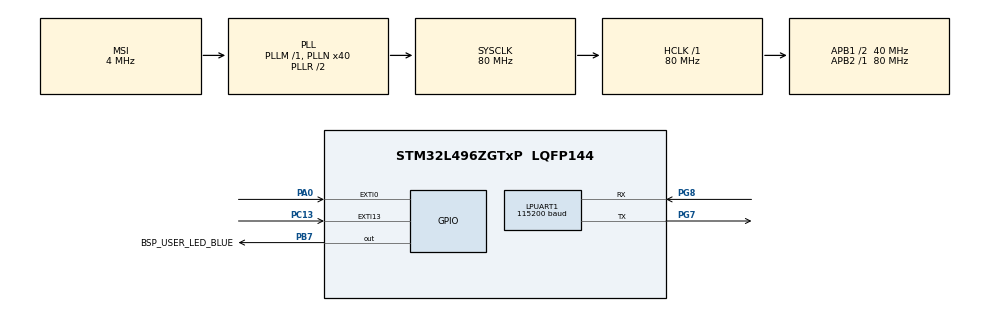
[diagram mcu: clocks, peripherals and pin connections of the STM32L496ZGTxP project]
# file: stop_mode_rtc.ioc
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LPUART1.BaudRate=115200
LPUART1.WordLength=UART_WORDLENGTH_8B
Mcu.Family=STM32L4
Mcu.Name=STM32L496ZGTxP
Mcu.Package=LQFP144
NVIC.EXTI0_IRQn=true\:0\:0\:false\:false\:true\:true\:true\:true
NVIC.EXTI15_10_IRQn=true\:0\:0\:false\:false\:true\:true\:true\:true
NVIC.PriorityGroup=NVIC_PRIORITYGROUP_4
NVIC.RTC_Alarm_IRQn=true\:0\:0\:false\:false\:true\:true\:true\:true
NVIC.RTC_WKUP_IRQn=true\:0\:0\:false\:false\:true\:true\:true\:true
NVIC.TIM2_IRQn=true\:0\:0\:false\:false\:true\:true\:true\:true
PA0.GPIO_PuPd=GPIO_PULLDOWN
PA0.Signal=GPXTI0
PA13\ (JTMS/SWDIO).Mode=Serial_Wire
PA13\ (JTMS/SWDIO).Signal=SYS_JTMS-SWDIO
PA14\ (JTCK/SWCLK).Mode=Serial_Wire
PA14\ (JTCK/SWCLK).Signal=SYS_JTCK-SWCLK
PB7.GPIO_Label=BSP_USER_LED_BLUE
PB7.Signal=GPIO_Output
PC13.Signal=GPXTI13
PG7.Mode=Asynchronous
PG7.Signal=LPUART1_TX
PG8.Mode=Asynchronous
PG8.Signal=LPUART1_RX
ProjectManager.HeapSize=0x200
ProjectManager.StackSize=0x400
ProjectManager.TargetToolchain=STM32CubeIDE
RCC.48MHZClocksFreq_Value=24000000
RCC.ADCFreq_Value=40000000
RCC.AHBFreq_Value=80000000
RCC.APB1CLKDivider=RCC_HCLK_DIV2
RCC.APB1Freq_Value=40000000
RCC.APB1TimFreq_Value=80000000
RCC.APB2Freq_Value=80000000
RCC.APB2TimFreq_Value=80000000
RCC.CortexFreq_Value=80000000
RCC.HCLKFreq_Value=80000000
RCC.HSE_VALUE=8000000
RCC.HSI48_VALUE=48000000
RCC.HSI_VALUE=16000000
RCC.LSE_VALUE=32768
RCC.MSI_VALUE=4000000
RCC.PLLMUL=RCC_PLL_MUL9
RCC.PLLN=40
RCC.PLLSAI1N=20
RCC.PRESCALERUSB=RCC_USBCLKSOURCE_PLL_DIV1_5
RCC.SYSCLKFreq_VALUE=80000000
RCC.SYSCLKSource=RCC_SYSCLKSOURCE_PLLCLK
RCC.SYSCLKSourceVirtual=RCC_SYSCLKSOURCE_PLLCLK
RCC.USBFreq_Value=40000000
RCC.VCOOutputFreq_Value=160000000
RTC.Alarm-Alarm\ A=RTC_ALARM_A
VP_RTC_VS_RTC_Activate.Mode=RTC_Enabled
VP_RTC_VS_RTC_Alarm_A_Intern.Mode=Alarm A
VP_RTC_VS_RTC_Calendar.Mode=RTC_Calendar
VP_RTC_VS_RTC_WakeUp_intern.Mode=WakeUp
VP_TIM1_VS_ClockSourceITR.Mode=TriggerSource_ITR0
VP_TIM1_VS_ControllerModeClock.Mode=Clock Mode
VP_TIM2_VS_ClockSourceITR.Mode=TriggerSource_ITR1
VP_TIM2_VS_ControllerModeClock.Mode=Clock Mode
board=NUCLEO-L496ZG-P

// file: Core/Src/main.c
/* USER CODE BEGIN Header */
/**
 ******************************************************************************
 * @file           : main.c
 * @brief          : Main program body
 ******************************************************************************
 * @attention
 *
 * Copyright (c) 2023 STMicroelectronics.
 * All rights reserved.
 *
 * This software is licensed under terms that can be found in the LICENSE file
 * in the root directory of this software component.
 * If no LICENSE file comes with this software, it is provided AS-IS.
 *
 ******************************************************************************
 */
/* USER CODE END Header */
#include "main.h"

/* USER CODE BEGIN Includes */
#include "stdbool.h"
#include "stdio.h"
/* USER CODE END Includes */

UART_HandleTypeDef hlpuart1;

RTC_HandleTypeDef hrtc;

TIM_HandleTypeDef htim1;
TIM_HandleTypeDef htim2;

/* USER CODE BEGIN PV */
//volatile uint32_t milliseconds = 0;
//volatile uint32_t timerInterval = 1000; // Initial timer interval in milliseconds
//volatile uint32_t maxInterval = 10000;  // Maximum timer interval in milliseconds
//volatile uint32_t lastKeyPressMillis = 0;
//volatile uint8_t resetTimer = 0;

volatile uint32_t milliseconds = 0;
volatile uint32_t standbyTimeout = 10000; // Standby timeout in milliseconds
volatile uint32_t lastKeyPressMillis = 0;
volatile uint8_t standbyModeFlag = 0;

uint32_t elapsedTime = 0;

static volatile bool keyPressed = false;//???
/* USER CODE END PV */

void SystemClock_Config(void);
static void MX_GPIO_Init(void);
static void MX_LPUART1_UART_Init(void);
static void MX_RTC_Init(void);
static void MX_TIM1_Init(void);
static void MX_TIM2_Init(void);
/* USER CODE BEGIN PFP */
void initializeTimer(void);
uint32_t millis(void);

/* USER CODE END PFP */

/* USER CODE BEGIN 0 */

void HAL_GPIO_EXTI_Callback(uint16_t GPIO_Pin) {
	if (GPIO_Pin == GPIO_PIN_13) {
		SystemClock_Config();
		HAL_ResumeTick(); //countios opration on intrupts

		if (standbyModeFlag == 1) {
			printf("WAKEUP FROM EXTII\r\n");

			printf("Weakup from stop mode\r\n");

			standbyTimeout = 10000;
			lastKeyPressMillis = 0;
//			standbyModeFlag = 0;
			elapsedTime = 0;
			milliseconds = 0;
			initializeTimer();
			SysTick_Config(SystemCoreClock / 1000);

		    standbyModeFlag = 0;
//		    lastKeyPressMillis = millis();
		}

		else {
			keyPressed = true;
		}
	}

}

/* USER CODE END 0 */

int main(void)
{

  /* MCU Configuration--------------------------------------------------------*/

  /* Reset of all peripherals, Initializes the Flash interface and the Systick. */
  HAL_Init();

  /* Configure the system clock */
  SystemClock_Config();

  /* Initialize all configured peripherals */
  MX_GPIO_Init();
  MX_LPUART1_UART_Init();
  MX_RTC_Init();
  MX_TIM1_Init();
  MX_TIM2_Init();
  /* USER CODE BEGIN 2 */
	printf("Enter stop mode in 10 sec\r\n");

initializeTimer();
 	SysTick_Config(SystemCoreClock / 1000);

//	HAL_Delay(200);
  /* USER CODE END 2 */

  /* Infinite loop */
	while (1) {

    /* USER CODE BEGIN 3 */

		// Check if a key has been pressed
		if (keyPressed == true) {
			// Update the lastKeyPressMillis
			lastKeyPressMillis = millis();//Updates the lastKeyPressMillis millis()
			standbyModeFlag = 0; // Reset the standby mode flag
			keyPressed = false;
		}

		// Calculate the elapsed time since the last key press
		elapsedTime = millis() - lastKeyPressMillis;

		// Check if the elapsed time exceeds the standby timeout and if not in standby mode already
		if (elapsedTime >= standbyTimeout && !standbyModeFlag) {

			enterStopMode();// enter the stop mode

		}

	}
  /* USER CODE END 3 */
}

void SystemClock_Config(void)
{
  RCC_OscInitTypeDef RCC_OscInitStruct = {0};
  RCC_ClkInitTypeDef RCC_ClkInitStruct = {0};

  /** Configure the main internal regulator output voltage
  */
  if (HAL_PWREx_ControlVoltageScaling(PWR_REGULATOR_VOLTAGE_SCALE1) != HAL_OK)
  {
    Error_Handler();
  }

  /** Initializes the RCC Oscillators according to the specified parameters
  * in the RCC_OscInitTypeDef structure.
  */
  RCC_OscInitStruct.OscillatorType = RCC_OSCILLATORTYPE_LSI|RCC_OSCILLATORTYPE_MSI;
  RCC_OscInitStruct.LSIState = RCC_LSI_ON;
  RCC_OscInitStruct.MSIState = RCC_MSI_ON;
  RCC_OscInitStruct.MSICalibrationValue = 0;
  RCC_OscInitStruct.MSIClockRange = RCC_MSIRANGE_6;
  RCC_OscInitStruct.PLL.PLLState = RCC_PLL_ON;
  RCC_OscInitStruct.PLL.PLLSource = RCC_PLLSOURCE_MSI;
  RCC_OscInitStruct.PLL.PLLM = 1;
  RCC_OscInitStruct.PLL.PLLN = 40;
  RCC_OscInitStruct.PLL.PLLP = RCC_PLLP_DIV2;
  RCC_OscInitStruct.PLL.PLLQ = RCC_PLLQ_DIV2;
  RCC_OscInitStruct.PLL.PLLR = RCC_PLLR_DIV2;
  if (HAL_RCC_OscConfig(&RCC_OscInitStruct) != HAL_OK)
  {
    Error_Handler();
  }

  /** Initializes the CPU, AHB and APB buses clocks
  */
  RCC_ClkInitStruct.ClockType = RCC_CLOCKTYPE_HCLK|RCC_CLOCKTYPE_SYSCLK
                              |RCC_CLOCKTYPE_PCLK1|RCC_CLOCKTYPE_PCLK2;
  RCC_ClkInitStruct.SYSCLKSource = RCC_SYSCLKSOURCE_PLLCLK;
  RCC_ClkInitStruct.AHBCLKDivider = RCC_SYSCLK_DIV1;
  RCC_ClkInitStruct.APB1CLKDivider = RCC_HCLK_DIV2;
  RCC_ClkInitStruct.APB2CLKDivider = RCC_HCLK_DIV1;

  if (HAL_RCC_ClockConfig(&RCC_ClkInitStruct, FLASH_LATENCY_4) != HAL_OK)
  {
    Error_Handler();
  }
}

static void MX_LPUART1_UART_Init(void)
{

  hlpuart1.Instance = LPUART1;
  hlpuart1.Init.BaudRate = 115200;
  hlpuart1.Init.WordLength = UART_WORDLENGTH_8B;
  hlpuart1.Init.StopBits = UART_STOPBITS_1;
  hlpuart1.Init.Parity = UART_PARITY_NONE;
  hlpuart1.Init.Mode = UART_MODE_TX_RX;
  hlpuart1.Init.HwFlowCtl = UART_HWCONTROL_NONE;
  hlpuart1.Init.OneBitSampling = UART_ONE_BIT_SAMPLE_DISABLE;
  hlpuart1.AdvancedInit.AdvFeatureInit = UART_ADVFEATURE_NO_INIT;
  if (HAL_UART_Init(&hlpuart1) != HAL_OK)
  {
    Error_Handler();
  }

}

static void MX_RTC_Init(void)
{

  RTC_TimeTypeDef sTime = {0};
  RTC_DateTypeDef sDate = {0};
  RTC_AlarmTypeDef sAlarm = {0};

  /** Initialize RTC Only
  */
  hrtc.Instance = RTC;
  hrtc.Init.HourFormat = RTC_HOURFORMAT_24;
  hrtc.Init.AsynchPrediv = 127;
  hrtc.Init.SynchPrediv = 255;
  hrtc.Init.OutPut = RTC_OUTPUT_DISABLE;
  hrtc.Init.OutPutRemap = RTC_OUTPUT_REMAP_NONE;
  hrtc.Init.OutPutPolarity = RTC_OUTPUT_POLARITY_HIGH;
  hrtc.Init.OutPutType = RTC_OUTPUT_TYPE_OPENDRAIN;
  if (HAL_RTC_Init(&hrtc) != HAL_OK)
  {
    Error_Handler();
  }

  /** Initialize RTC and set the Time and Date
  */
  sTime.Hours = 0x0;
  sTime.Minutes = 0x0;
  sTime.Seconds = 0x0;
  sTime.DayLightSaving = RTC_DAYLIGHTSAVING_NONE;
  sTime.StoreOperation = RTC_STOREOPERATION_RESET;
  if (HAL_RTC_SetTime(&hrtc, &sTime, RTC_FORMAT_BCD) != HAL_OK)
  {
    Error_Handler();
  }
  sDate.WeekDay = RTC_WEEKDAY_MONDAY;
  sDate.Month = RTC_MONTH_JANUARY;
  sDate.Date = 0x1;
  sDate.Year = 0x0;

  if (HAL_RTC_SetDate(&hrtc, &sDate, RTC_FORMAT_BCD) != HAL_OK)
  {
    Error_Handler();
  }

  /** Enable the Alarm A
  */
  sAlarm.AlarmTime.Hours = 0x0;
  sAlarm.AlarmTime.Minutes = 0x0;
  sAlarm.AlarmTime.Seconds = 0x0;
  sAlarm.AlarmTime.SubSeconds = 0x0;
  sAlarm.AlarmTime.DayLightSaving = RTC_DAYLIGHTSAVING_NONE;
  sAlarm.AlarmTime.StoreOperation = RTC_STOREOPERATION_RESET;
  sAlarm.AlarmMask = RTC_ALARMMASK_NONE;
  sAlarm.AlarmSubSecondMask = RTC_ALARMSUBSECONDMASK_ALL;
  sAlarm.AlarmDateWeekDaySel = RTC_ALARMDATEWEEKDAYSEL_DATE;
  sAlarm.AlarmDateWeekDay = 0x1;
  sAlarm.Alarm = RTC_ALARM_A;
  if (HAL_RTC_SetAlarm_IT(&hrtc, &sAlarm, RTC_FORMAT_BCD) != HAL_OK)
  {
    Error_Handler();
  }

  /** Enable the WakeUp
  */
  if (HAL_RTCEx_SetWakeUpTimer_IT(&hrtc, 0, RTC_WAKEUPCLOCK_RTCCLK_DIV16) != HAL_OK)
  {
    Error_Handler();
  }

}

static void MX_TIM1_Init(void)
{

  TIM_SlaveConfigTypeDef sSlaveConfig = {0};
  TIM_MasterConfigTypeDef sMasterConfig = {0};

  htim1.Instance = TIM1;
  htim1.Init.Prescaler = 0;
  htim1.Init.CounterMode = TIM_COUNTERMODE_UP;
  htim1.Init.Period = 65535;
  htim1.Init.ClockDivision = TIM_CLOCKDIVISION_DIV1;
  htim1.Init.RepetitionCounter = 0;
  htim1.Init.AutoReloadPreload = TIM_AUTORELOAD_PRELOAD_DISABLE;
  if (HAL_TIM_Base_Init(&htim1) != HAL_OK)
  {
    Error_Handler();
  }
  sSlaveConfig.SlaveMode = TIM_SLAVEMODE_EXTERNAL1;
  sSlaveConfig.InputTrigger = TIM_TS_ITR0;
  if (HAL_TIM_SlaveConfigSynchro(&htim1, &sSlaveConfig) != HAL_OK)
  {
    Error_Handler();
  }
  sMasterConfig.MasterOutputTrigger = TIM_TRGO_RESET;
  sMasterConfig.MasterOutputTrigger2 = TIM_TRGO2_RESET;
  sMasterConfig.MasterSlaveMode = TIM_MASTERSLAVEMODE_DISABLE;
  if (HAL_TIMEx_MasterConfigSynchronization(&htim1, &sMasterConfig) != HAL_OK)
  {
    Error_Handler();
  }

}

static void MX_TIM2_Init(void)
{

  TIM_SlaveConfigTypeDef sSlaveConfig = {0};
  TIM_MasterConfigTypeDef sMasterConfig = {0};

  htim2.Instance = TIM2;
  htim2.Init.Prescaler = 0;
  htim2.Init.CounterMode = TIM_COUNTERMODE_UP;
  htim2.Init.Period = 4294967295;
  htim2.Init.ClockDivision = TIM_CLOCKDIVISION_DIV1;
  htim2.Init.AutoReloadPreload = TIM_AUTORELOAD_PRELOAD_DISABLE;
  if (HAL_TIM_Base_Init(&htim2) != HAL_OK)
  {
    Error_Handler();
  }
  sSlaveConfig.SlaveMode = TIM_SLAVEMODE_EXTERNAL1;
  sSlaveConfig.InputTrigger = TIM_TS_ITR1;
  if (HAL_TIM_SlaveConfigSynchro(&htim2, &sSlaveConfig) != HAL_OK)
  {
    Error_Handler();
  }
  sMasterConfig.MasterOutputTrigger = TIM_TRGO_RESET;
  sMasterConfig.MasterSlaveMode = TIM_MASTERSLAVEMODE_DISABLE;
  if (HAL_TIMEx_MasterConfigSynchronization(&htim2, &sMasterConfig) != HAL_OK)
  {
    Error_Handler();
  }
  if (HAL_TIMEx_RemapConfig(&htim2, TIM_TIM2_TI4_GPIO) != HAL_OK)
  {
    Error_Handler();
  }

}

static void MX_GPIO_Init(void)
{
  GPIO_InitTypeDef GPIO_InitStruct = {0};

  /* GPIO Ports Clock Enable */
  __HAL_RCC_GPIOC_CLK_ENABLE();
  __HAL_RCC_GPIOA_CLK_ENABLE();
  __HAL_RCC_GPIOG_CLK_ENABLE();
  HAL_PWREx_EnableVddIO2();
  __HAL_RCC_GPIOB_CLK_ENABLE();

  /*Configure GPIO pin Output Level */
  HAL_GPIO_WritePin(BSP_USER_LED_BLUE_GPIO_Port, BSP_USER_LED_BLUE_Pin, GPIO_PIN_RESET);

  /*Configure GPIO pin : PC13 */
  GPIO_InitStruct.Pin = GPIO_PIN_13;
  GPIO_InitStruct.Mode = GPIO_MODE_IT_RISING;
  GPIO_InitStruct.Pull = GPIO_NOPULL;
  HAL_GPIO_Init(GPIOC, &GPIO_InitStruct);

  /*Configure GPIO pin : PA0 */
  GPIO_InitStruct.Pin = GPIO_PIN_0;
  GPIO_InitStruct.Mode = GPIO_MODE_IT_RISING;
  GPIO_InitStruct.Pull = GPIO_PULLDOWN;
  HAL_GPIO_Init(GPIOA, &GPIO_InitStruct);

  /*Configure GPIO pin : BSP_USER_LED_BLUE_Pin */
  GPIO_InitStruct.Pin = BSP_USER_LED_BLUE_Pin;
  GPIO_InitStruct.Mode = GPIO_MODE_OUTPUT_PP;
  GPIO_InitStruct.Pull = GPIO_NOPULL;
  GPIO_InitStruct.Speed = GPIO_SPEED_FREQ_LOW;
  HAL_GPIO_Init(BSP_USER_LED_BLUE_GPIO_Port, &GPIO_InitStruct);

  /* EXTI interrupt init*/
  HAL_NVIC_SetPriority(EXTI0_IRQn, 0, 0);
  HAL_NVIC_EnableIRQ(EXTI0_IRQn);

  HAL_NVIC_SetPriority(EXTI15_10_IRQn, 0, 0);
  HAL_NVIC_EnableIRQ(EXTI15_10_IRQn);

}

/* USER CODE BEGIN 4 */
//void HAL_GPIO_EXTI_Callback(uint16_t GPIO_Pin)
//{
//	// set  the flag
//	keyPressed = true;
//
//}
uint32_t millis() {
	return milliseconds;
}

void HAL_TIM_PeriodElapsedCallback(TIM_HandleTypeDef *htim) {
	if (htim->Instance == TIM2) {
		milliseconds++;
	}
}

void initializeTimer() {
	__HAL_RCC_TIM2_CLK_ENABLE();

	htim2.Instance = TIM2;
	htim2.Init.Prescaler = (HAL_RCC_GetPCLK1Freq() / 1000) - 1; // Timer runs at 1kHz
	htim2.Init.CounterMode = TIM_COUNTERMODE_UP;
	htim2.Init.Period = UINT16_MAX;
	htim2.Init.ClockDivision = TIM_CLOCKDIVISION_DIV1;

	HAL_TIM_Base_Init(&htim2);
	HAL_TIM_Base_Start_IT(&htim2);
}

void enterStopMode() {
	standbyModeFlag = 1;

	// Perform standby mode operations here
	// Save the screen or perform any required tasks before entering stop mode
	printf("Entering Stop mode\n");

	// Enter stop mode here using the appropriate STM32L4 HAL function
	HAL_PWR_EnterSTOPMode(PWR_LOWPOWERREGULATOR_ON, PWR_STOPENTRY_WFI);

//    standbyModeFlag = 0;
}

/* USER CODE END 4 */

void Error_Handler(void)
{
	__disable_irq();
	while (1) {
	}
}
